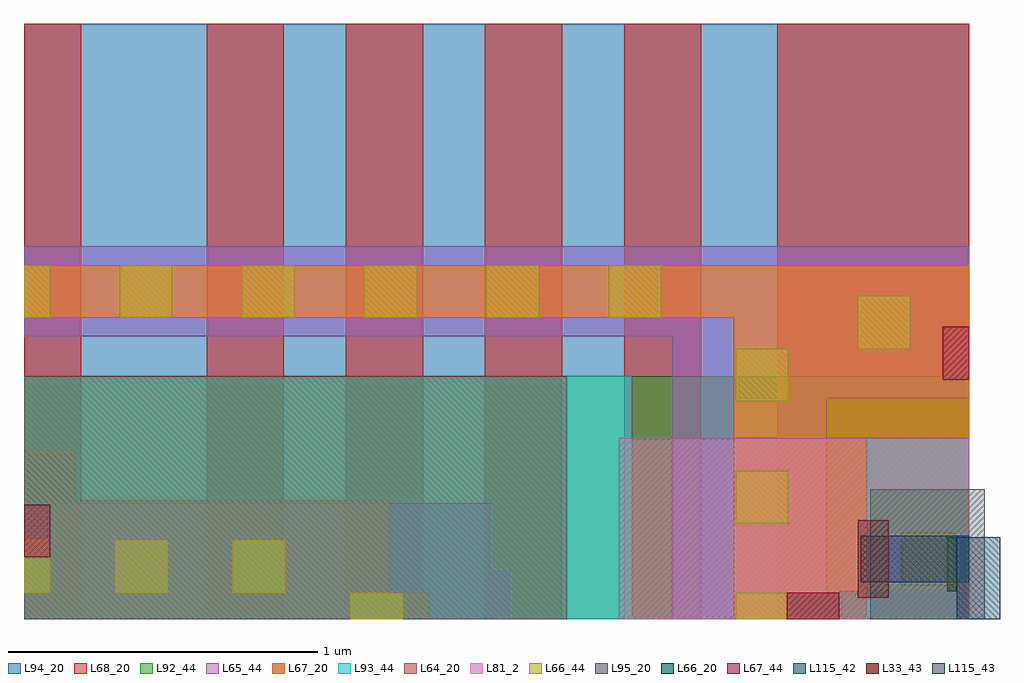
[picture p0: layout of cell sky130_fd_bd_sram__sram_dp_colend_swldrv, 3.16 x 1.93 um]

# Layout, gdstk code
from math import pi, radians
import gdstk
lib = gdstk.Library(unit=1e-6, precision=1e-09)
def R(c, l, rs):  # rectangles x0, y0, x1, y1
    for r in rs: c.add(gdstk.rectangle(r[:2], r[2:], *l))
def A(c, l, x, y, w, h, nx, ny, dx, dy):  # array of equal rectangles
    R(c, l, [(x+i*dx, y+j*dy, x+i*dx+w, y+j*dy+h) for i in range(nx) for j in range(ny)])
def P(c, l, *ps):  # polygons
    for p in ps: c.add(gdstk.Polygon(p, *l))
L33_43 = (33, 43)
L64_20 = (64, 20)
L65_44 = (65, 44)
L66_20 = (66, 20)
L66_44 = (66, 44)
L67_20 = (67, 20)
L67_44 = (67, 44)
L68_20 = (68, 20)
L81_2 = (81, 2)
L92_44 = (92, 44)
L93_44 = (93, 44)
L94_20 = (94, 20)
L95_20 = (95, 20)
L115_42 = (115, 42)
L115_43 = (115, 43)

sky130_fd_bd_sram__sram_ = lib.new_cell('sky130_fd_bd_sram__sram_dp_cell_poly_srf_opta')
R(sky130_fd_bd_sram__sram_, L33_43, [(-0.1,-0.2,0,0.05)])

c_sky130_fd_bd_sram__sram_ = lib.new_cell('sky130_fd_bd_sram__sram_dp_mcon_05')
R(c_sky130_fd_bd_sram__sram_, L67_44, [(-0.085,0,0.085,0.085)])

c_sky130_fd_bd_sram__sram__ = lib.new_cell('sky130_fd_bd_sram__sram_dp_licon_05')
R(c_sky130_fd_bd_sram__sram__, L66_44, [(-0.085,0,0.085,0.085)])

c_sky130_fd_bd_sram__sram___ = lib.new_cell('sky130_fd_bd_sram__sram_dp_licon_1')
c_sky130_fd_bd_sram__sram___.add(gdstk.Reference(c_sky130_fd_bd_sram__sram__, (0,0)))
c_sky130_fd_bd_sram__sram___.add(gdstk.Reference(c_sky130_fd_bd_sram__sram__, (0,0), x_reflection=True))

c_sky130_fd_bd_sram__sram____ = lib.new_cell('sky130_fd_bd_sram__sram_dp_colend_li_drop')
R(c_sky130_fd_bd_sram__sram____, L115_42, [(0.03,-0.265,0.17,0)])
R(c_sky130_fd_bd_sram__sram____, L115_43, [(0,-0.175,0.03,0)])

c_sky130_fd_bd_sram__sram_____ = lib.new_cell('sky130_fd_bd_sram__sram_dp_swldrv_tap')
R(c_sky130_fd_bd_sram__sram_____, L65_44, [(2.095,0.035,2.595,0.235)])
P(c_sky130_fd_bd_sram__sram_____, L65_44, [(0,-0.14),(0,0.235),(1.575,0.235),(1.575,0.075),(1.51,0.075),(1.51,-0.14)])
R(c_sky130_fd_bd_sram__sram_____, L66_44, [(1.055,0.15,1.225,0.235), (2.3,0.15,2.47,0.235)])
R(c_sky130_fd_bd_sram__sram_____, L67_20, [(0,-0.31,0.165,0.235), (0.165,-0.15,1.18,0.15), (0.11,0.15,1.31,0.235)])
R(c_sky130_fd_bd_sram__sram_____, L93_44, [(0,-0.33,1.965,0.235)])
R(c_sky130_fd_bd_sram__sram_____, L94_20, [(1.965,0.035,2.725,0.235)])
c_sky130_fd_bd_sram__sram_____.add(gdstk.Reference(c_sky130_fd_bd_sram__sram__, (0,0.065), rotation=3*pi/2))
c_sky130_fd_bd_sram__sram_____.add(gdstk.Reference(c_sky130_fd_bd_sram__sram___, (0.38,0.065)))
c_sky130_fd_bd_sram__sram_____.add(gdstk.Reference(c_sky130_fd_bd_sram__sram___, (0.76,0.065)))

c_sky130_fd_bd_sram__sram______ = lib.new_cell('sky130_fd_bd_sram__sram_dp_colend_swldrv')
R(c_sky130_fd_bd_sram__sram______, L64_20, [(-3.055,0,-1.3,0.785)])
R(c_sky130_fd_bd_sram__sram______, L65_44, [(-0.96,0.2,-0.46,1.125), (-0.46,0.715,0,1.205), (-3.055,0.915,-0.46,1.205)])
R(c_sky130_fd_bd_sram__sram______, L66_20, [(-0.35,0.12,0,0.27)])
R(c_sky130_fd_bd_sram__sram______, L66_44, [(-0.22,0.11,-0.05,0.28)])
R(c_sky130_fd_bd_sram__sram______, L67_20, [(-3.055,0.975,0,1.145)])
P(c_sky130_fd_bd_sram__sram______, L67_20, [(-0.76,0),(-0.76,1.11),(0,1.11),(0,0.265),(-0.07,0.265),(-0.07,0.09),(-0.42,0.09),(-0.42,0)])
R(c_sky130_fd_bd_sram__sram______, L67_44, [(-0.59,0,-0.42,0.085), (-0.085,0.775,0,0.945)])
A(c_sky130_fd_bd_sram__sram______, L68_20, -2.465, 0, 0.25, 1.925, 4, 1, 0.45, 0)
R(c_sky130_fd_bd_sram__sram______, L68_20, [(-3.055,0,-2.87,1.925), (-0.62,0,0,1.925)])
R(c_sky130_fd_bd_sram__sram______, L81_2, [(-1.13,0,0,0.585)])
R(c_sky130_fd_bd_sram__sram______, L92_44, [(-3.055,0,-1.145,0.785), (-1.145,0,0,0.785)])
R(c_sky130_fd_bd_sram__sram______, L93_44, [(-0.33,0,0,0.585), (-3.055,0.565,-1.09,0.785)])
P(c_sky130_fd_bd_sram__sram______, L94_20, [(-1.09,0.2),(-1.09,0.785),(-3.055,0.785),(-3.055,1.925),(0,1.925),(0,0.585),(-0.33,0.585),(-0.33,0.2)])
R(c_sky130_fd_bd_sram__sram______, L95_20, [(-0.32,0,0.05,0.42)])
c_sky130_fd_bd_sram__sram______.add(gdstk.Reference(sky130_fd_bd_sram__sram_, (-0.26,0.27)))
c_sky130_fd_bd_sram__sram______.add(gdstk.Reference(c_sky130_fd_bd_sram__sram_, (-3.055,0.285), rotation=pi/2, x_reflection=True))
c_sky130_fd_bd_sram__sram______.add(gdstk.Reference(c_sky130_fd_bd_sram__sram___, (-0.67,0.395)))
c_sky130_fd_bd_sram__sram______.add(gdstk.Reference(c_sky130_fd_bd_sram__sram___, (-0.275,0.96)))
c_sky130_fd_bd_sram__sram______.add(gdstk.Reference(c_sky130_fd_bd_sram__sram___, (-1.08,1.06)))
c_sky130_fd_bd_sram__sram______.add(gdstk.Reference(c_sky130_fd_bd_sram__sram___, (-1.475,1.06)))
c_sky130_fd_bd_sram__sram______.add(gdstk.Reference(c_sky130_fd_bd_sram__sram___, (-1.87,1.06)))
c_sky130_fd_bd_sram__sram______.add(gdstk.Reference(c_sky130_fd_bd_sram__sram___, (-2.265,1.06)))
c_sky130_fd_bd_sram__sram______.add(gdstk.Reference(c_sky130_fd_bd_sram__sram___, (-0.67,0.79)))
c_sky130_fd_bd_sram__sram______.add(gdstk.Reference(c_sky130_fd_bd_sram__sram___, (-2.66,1.06)))
c_sky130_fd_bd_sram__sram______.add(gdstk.Reference(c_sky130_fd_bd_sram__sram____, (-0.07,0.265)))
c_sky130_fd_bd_sram__sram______.add(gdstk.Reference(c_sky130_fd_bd_sram__sram_____, (-3.055,0.235), x_reflection=True))
c_sky130_fd_bd_sram__sram______.add(gdstk.Reference(c_sky130_fd_bd_sram__sram__, (-3.055,1.06), rotation=3*pi/2))

lib.write_gds('sky130_fd_bd_sram__sram_dp_colend_swldrv.gds')
